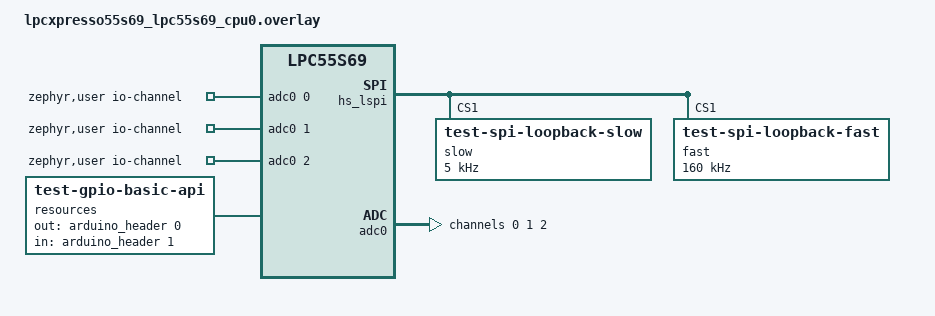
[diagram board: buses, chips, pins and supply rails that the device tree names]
/*
 * Copyright 2024 NXP
 *
 * SPDX-License-Identifier: Apache-2.0
 */

tst_dma0: &dma0 {};

&hs_lspi {
	/delete-property/ cs-gpios;
	slow@1 {
		compatible = "test-spi-loopback-slow";
		reg = <1>;
		spi-max-frequency = <5000>;
	};
	fast@1 {
		compatible = "test-spi-loopback-fast";
		reg = <1>;
		spi-max-frequency = <160000>;
	};
};

#include <zephyr/dt-bindings/adc/mcux-lpadc.h>

/ {
	zephyr,user {
		io-channels = <&adc0 0>, <&adc0 1>, <&adc0 2>;
	};
};

&adc0 {
	#address-cells = <1>;
	#size-cells = <0>;
	channel@0 {
		reg = <0>;
		zephyr,gain = "ADC_GAIN_1";
		zephyr,reference = "ADC_REF_EXTERNAL0";
		zephyr,vref-mv = <3300>;
		zephyr,acquisition-time = <ADC_ACQ_TIME_DEFAULT>;
		zephyr,resolution = <13>;
		zephyr,input-positive = <MCUX_LPADC_CH0A>;
	};
	channel@1 {
		reg = <1>;
		zephyr,gain = "ADC_GAIN_1";
		zephyr,reference = "ADC_REF_EXTERNAL0";
		zephyr,vref-mv = <3300>;
		zephyr,acquisition-time = <ADC_ACQ_TIME_DEFAULT>;
		zephyr,resolution = <16>;
		zephyr,input-positive = <MCUX_LPADC_CH4A>;
	};
	channel@2 {
		reg = <2>;
		zephyr,gain = "ADC_GAIN_1";
		zephyr,reference = "ADC_REF_EXTERNAL0";
		zephyr,vref-mv = <3300>;
		zephyr,acquisition-time = <ADC_ACQ_TIME_DEFAULT>;
		zephyr,resolution = <12>;
		zephyr,input-positive = <MCUX_LPADC_CH4B>;
	};
};

/ {
	resources {
		compatible = "test-gpio-basic-api";
		out-gpios = <&arduino_header 0 (GPIO_PUSH_PULL | GPIO_PULL_UP)>;
		in-gpios = <&arduino_header 1 (GPIO_PUSH_PULL | GPIO_PULL_UP)>;
	};
};
